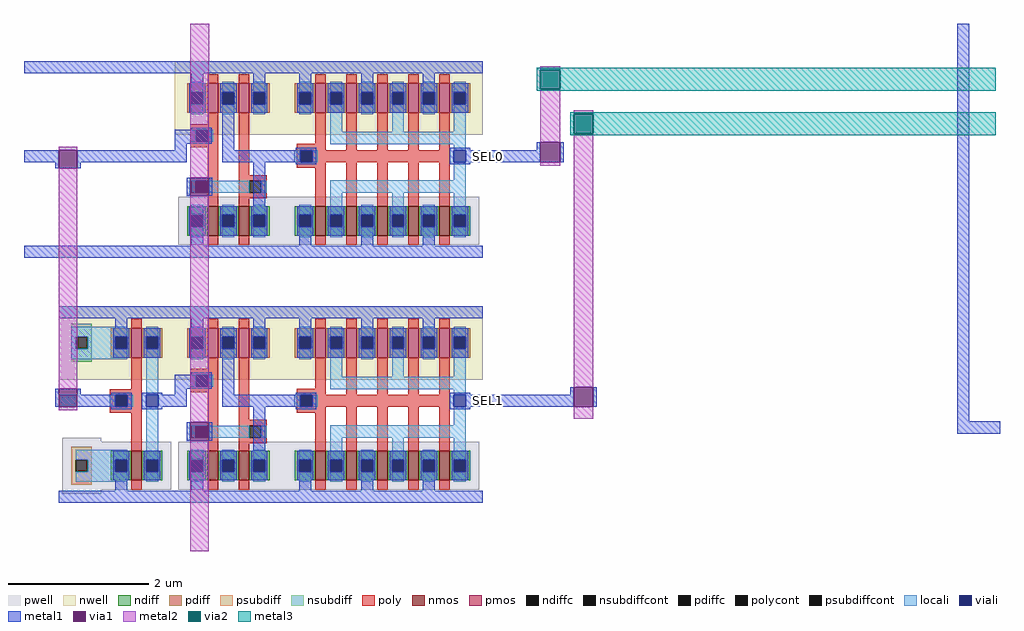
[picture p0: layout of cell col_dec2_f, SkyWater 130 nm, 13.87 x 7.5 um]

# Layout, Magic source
magic
tech sky130A
magscale 1 2
<< metal1 >>
rect -473 1024 -11 1058
rect 985 806 995 828
rect -473 772 -374 806
rect -384 754 -374 772
rect -322 772 -11 806
rect 831 772 995 806
rect 1051 772 1061 828
rect -322 754 -312 772
rect -473 500 -11 534
rect -384 76 -374 128
rect -322 76 -312 128
rect 1079 110 1089 132
rect 831 76 1089 110
rect 1145 76 1155 132
rect 2179 35 2213 1165
rect 2179 0 2301 35
<< via1 >>
rect -374 754 -322 806
rect 995 772 1051 828
rect -374 76 -322 128
rect 1089 76 1145 132
<< metal2 >>
rect 0 1057 53 1165
rect 995 1035 1051 1045
rect 995 828 1051 979
rect -374 806 -322 816
rect 995 762 1051 772
rect 1089 909 1145 919
rect -374 128 -322 754
rect -374 66 -322 76
rect 1089 132 1145 853
rect 1089 42 1145 76
<< via2 >>
rect 995 979 1051 1035
rect 1089 853 1145 909
<< metal3 >>
rect 985 1035 2289 1040
rect 985 979 995 1035
rect 1051 979 2289 1035
rect 985 974 2289 979
rect 1079 909 2289 914
rect 1079 853 1089 909
rect 1145 853 2289 909
rect 1079 848 2289 853
use not_f  not_f_0 ~/Desktop/FabRAM/FE/sram130/not
transform 1 0 -374 0 1 -334
box 0 138 330 696
use row_driver_f  row_driver_f_0 ~/Desktop/FabRAM/FE/sram130/row_driver
transform 1 0 -45 0 1 362
box 0 0 876 696
use row_driver_f  row_driver_f_1
transform 1 0 -45 0 1 -334
box 0 0 876 696
<< labels >>
rlabel metal1 831 772 865 806 0 SEL0
rlabel metal1 831 76 865 110 0 SEL1
<< end >>

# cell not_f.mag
magic
tech sky130A
magscale 1 2
<< nwell >>
rect 0 488 330 696
<< pwell >>
rect 10 311 120 323
rect 10 175 320 311
rect 10 163 120 175
<< nmos >>
rect 206 201 236 285
<< pmos >>
rect 206 550 236 634
<< ndiff >>
rect 148 260 206 285
rect 148 226 160 260
rect 194 226 206 260
rect 148 201 206 226
rect 236 260 294 285
rect 236 226 248 260
rect 282 226 294 260
rect 236 201 294 226
<< pdiff >>
rect 148 609 206 634
rect 148 575 160 609
rect 194 575 206 609
rect 148 550 206 575
rect 236 609 294 634
rect 236 575 248 609
rect 282 575 294 609
rect 236 550 294 575
<< ndiffc >>
rect 160 226 194 260
rect 248 226 282 260
<< pdiffc >>
rect 160 575 194 609
rect 248 575 282 609
<< psubdiff >>
rect 36 260 94 297
rect 36 226 48 260
rect 82 226 94 260
rect 36 189 94 226
<< nsubdiff >>
rect 36 609 94 646
rect 36 575 48 609
rect 82 575 94 609
rect 36 538 94 575
<< psubdiffcont >>
rect 48 226 82 260
<< nsubdiffcont >>
rect 48 575 82 609
<< poly >>
rect 206 634 236 660
rect 206 460 236 550
rect 145 444 236 460
rect 145 410 161 444
rect 195 410 236 444
rect 145 394 236 410
rect 206 285 236 394
rect 206 175 236 201
<< polycont >>
rect 161 410 195 444
<< locali >>
rect 36 609 194 638
rect 36 575 48 609
rect 82 575 160 609
rect 36 546 194 575
rect 248 609 282 638
rect 248 444 282 575
rect 145 410 161 444
rect 195 410 211 444
rect 48 260 194 289
rect 82 226 160 260
rect 48 197 194 226
rect 248 260 282 410
rect 248 197 282 226
<< viali >>
rect 160 575 194 609
rect 248 575 282 609
rect 161 410 195 444
rect 248 410 282 444
rect 160 226 194 260
rect 248 226 282 260
<< metal1 >>
rect 0 662 330 696
rect 160 634 194 662
rect 154 609 200 634
rect 154 575 160 609
rect 194 575 200 609
rect 154 550 200 575
rect 242 609 288 634
rect 242 575 248 609
rect 282 575 288 609
rect 242 550 288 575
rect 149 444 207 450
rect 0 410 161 444
rect 195 410 207 444
rect 149 404 207 410
rect 236 444 294 450
rect 236 410 248 444
rect 282 410 330 444
rect 236 404 294 410
rect 154 260 200 285
rect 154 226 160 260
rect 194 226 200 260
rect 154 201 200 226
rect 242 260 288 285
rect 242 226 248 260
rect 282 226 288 260
rect 242 201 288 226
rect 160 172 194 201
rect 0 138 330 172
<< labels >>
flabel metal1 s 296 410 330 444 0 FreeSans 44 0 0 0 B
port 1 nsew
flabel metal1 s 0 662 34 696 0 FreeSans 44 0 0 0 VDD
port 2 nsew
flabel metal1 s 0 410 34 444 0 FreeSans 44 0 0 0 A
port 3 nsew
flabel metal1 s 0 138 34 172 0 FreeSans 44 0 0 0 VSS
port 4 nsew
<< end >>

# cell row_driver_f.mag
magic
tech sky130A
magscale 1 2
<< nwell >>
rect 0 488 876 696
<< pwell >>
rect 10 175 866 311
<< nmos >>
rect 94 201 124 285
rect 182 201 212 285
rect 400 201 430 285
rect 488 201 518 285
rect 576 201 606 285
rect 664 201 694 285
rect 752 201 782 285
<< pmos >>
rect 94 550 124 634
rect 182 550 212 634
rect 400 550 430 634
rect 488 550 518 634
rect 576 550 606 634
rect 664 550 694 634
rect 752 550 782 634
<< ndiff >>
rect 36 260 94 285
rect 36 226 48 260
rect 82 226 94 260
rect 36 201 94 226
rect 124 260 182 285
rect 124 226 136 260
rect 170 226 182 260
rect 124 201 182 226
rect 212 260 270 285
rect 212 226 224 260
rect 258 226 270 260
rect 212 201 270 226
rect 342 260 400 285
rect 342 226 354 260
rect 388 226 400 260
rect 342 201 400 226
rect 430 260 488 285
rect 430 226 442 260
rect 476 226 488 260
rect 430 201 488 226
rect 518 260 576 285
rect 518 226 530 260
rect 564 226 576 260
rect 518 201 576 226
rect 606 260 664 285
rect 606 226 618 260
rect 652 226 664 260
rect 606 201 664 226
rect 694 260 752 285
rect 694 226 706 260
rect 740 226 752 260
rect 694 201 752 226
rect 782 260 840 285
rect 782 226 794 260
rect 828 226 840 260
rect 782 201 840 226
<< pdiff >>
rect 36 609 94 634
rect 36 575 48 609
rect 82 575 94 609
rect 36 550 94 575
rect 124 609 182 634
rect 124 575 136 609
rect 170 575 182 609
rect 124 550 182 575
rect 212 609 270 634
rect 212 575 224 609
rect 258 575 270 609
rect 212 550 270 575
rect 342 609 400 634
rect 342 575 354 609
rect 388 575 400 609
rect 342 550 400 575
rect 430 609 488 634
rect 430 575 442 609
rect 476 575 488 609
rect 430 550 488 575
rect 518 609 576 634
rect 518 575 530 609
rect 564 575 576 609
rect 518 550 576 575
rect 606 609 664 634
rect 606 575 618 609
rect 652 575 664 609
rect 606 550 664 575
rect 694 609 752 634
rect 694 575 706 609
rect 740 575 752 609
rect 694 550 752 575
rect 782 609 840 634
rect 782 575 794 609
rect 828 575 840 609
rect 782 550 840 575
<< ndiffc >>
rect 48 226 82 260
rect 136 226 170 260
rect 224 226 258 260
rect 354 226 388 260
rect 442 226 476 260
rect 530 226 564 260
rect 618 226 652 260
rect 706 226 740 260
rect 794 226 828 260
<< pdiffc >>
rect 48 575 82 609
rect 136 575 170 609
rect 224 575 258 609
rect 354 575 388 609
rect 442 575 476 609
rect 530 575 564 609
rect 618 575 652 609
rect 706 575 740 609
rect 794 575 828 609
<< poly >>
rect 94 634 124 660
rect 182 634 212 660
rect 400 634 430 660
rect 488 634 518 660
rect 576 634 606 660
rect 664 634 694 660
rect 752 634 782 660
rect 94 518 124 550
rect 44 502 124 518
rect 44 468 60 502
rect 94 468 124 502
rect 44 452 124 468
rect 94 285 124 452
rect 182 373 212 550
rect 400 462 430 550
rect 347 444 430 462
rect 488 444 518 550
rect 576 444 606 550
rect 664 444 694 550
rect 752 444 782 550
rect 347 410 357 444
rect 391 410 782 444
rect 347 394 430 410
rect 182 357 262 373
rect 182 323 212 357
rect 246 323 262 357
rect 182 307 262 323
rect 182 285 212 307
rect 400 285 430 394
rect 488 285 518 410
rect 576 285 606 410
rect 664 285 694 410
rect 752 285 782 410
rect 94 175 124 201
rect 182 175 212 201
rect 400 175 430 201
rect 488 175 518 201
rect 576 175 606 201
rect 664 175 694 201
rect 752 175 782 201
<< polycont >>
rect 60 468 94 502
rect 357 410 391 444
rect 212 323 246 357
<< locali >>
rect 48 609 82 638
rect 48 546 82 575
rect 136 609 170 638
rect 136 546 170 575
rect 224 609 258 638
rect 224 546 258 575
rect 354 609 388 638
rect 354 546 388 575
rect 442 609 476 638
rect 44 468 60 502
rect 94 468 110 502
rect 442 496 476 575
rect 530 609 564 638
rect 530 546 564 575
rect 618 609 652 638
rect 618 496 652 575
rect 706 609 740 638
rect 706 546 740 575
rect 794 609 828 638
rect 794 496 828 575
rect 442 461 828 496
rect 794 444 828 461
rect 340 410 357 444
rect 391 410 407 444
rect 794 358 828 410
rect 48 323 60 357
rect 94 323 212 357
rect 246 323 262 357
rect 442 323 828 358
rect 48 260 82 289
rect 48 197 82 226
rect 136 260 170 289
rect 136 197 170 226
rect 224 260 258 289
rect 224 197 258 226
rect 354 260 388 289
rect 354 197 388 226
rect 442 260 476 323
rect 442 197 476 226
rect 530 260 564 289
rect 530 197 564 226
rect 618 260 652 323
rect 618 197 652 226
rect 706 260 740 289
rect 706 197 740 226
rect 794 260 828 323
rect 794 197 828 226
<< viali >>
rect 48 575 82 609
rect 136 575 170 609
rect 224 575 258 609
rect 354 575 388 609
rect 442 575 476 609
rect 60 468 94 502
rect 530 575 564 609
rect 618 575 652 609
rect 706 575 740 609
rect 794 575 828 609
rect 357 410 391 444
rect 794 410 828 444
rect 60 323 94 357
rect 48 226 82 260
rect 136 226 170 260
rect 224 226 258 260
rect 354 226 388 260
rect 442 226 476 260
rect 530 226 564 260
rect 618 226 652 260
rect 706 226 740 260
rect 794 226 828 260
<< metal1 >>
rect 0 662 876 696
rect 48 634 82 662
rect 224 634 258 662
rect 354 634 388 662
rect 530 634 564 662
rect 706 634 740 662
rect 42 609 88 634
rect 42 575 48 609
rect 82 575 88 609
rect 42 550 88 575
rect 130 609 176 634
rect 130 575 136 609
rect 170 575 176 609
rect 130 550 176 575
rect 218 609 264 634
rect 218 575 224 609
rect 258 575 264 609
rect 218 550 264 575
rect 348 609 394 634
rect 348 575 354 609
rect 388 575 394 609
rect 348 550 394 575
rect 436 609 482 634
rect 436 575 442 609
rect 476 575 482 609
rect 436 550 482 575
rect 524 609 570 634
rect 524 575 530 609
rect 564 575 570 609
rect 524 550 570 575
rect 612 609 658 634
rect 612 575 618 609
rect 652 575 658 609
rect 612 550 658 575
rect 700 609 746 634
rect 700 575 706 609
rect 740 575 746 609
rect 700 550 746 575
rect 788 609 834 634
rect 788 575 794 609
rect 828 575 834 609
rect 788 550 834 575
rect 48 502 106 508
rect 0 468 60 502
rect 94 468 106 502
rect 0 462 106 468
rect 0 410 34 462
rect 136 444 170 550
rect 345 444 403 450
rect 136 410 357 444
rect 391 410 403 444
rect 35 314 45 366
rect 97 314 107 366
rect 224 285 258 410
rect 345 404 403 410
rect 782 444 840 450
rect 782 410 794 444
rect 828 410 876 444
rect 782 404 840 410
rect 42 260 88 285
rect 42 226 48 260
rect 82 226 88 260
rect 42 201 88 226
rect 130 260 176 285
rect 130 226 136 260
rect 170 226 176 260
rect 130 201 176 226
rect 218 260 264 285
rect 218 226 224 260
rect 258 226 264 260
rect 218 201 264 226
rect 348 260 394 285
rect 348 226 354 260
rect 388 226 394 260
rect 348 201 394 226
rect 436 260 482 285
rect 436 226 442 260
rect 476 226 482 260
rect 436 201 482 226
rect 524 260 570 285
rect 524 226 530 260
rect 564 226 570 260
rect 524 201 570 226
rect 612 260 658 285
rect 612 226 618 260
rect 652 226 658 260
rect 612 201 658 226
rect 700 260 746 285
rect 700 226 706 260
rect 740 226 746 260
rect 700 201 746 226
rect 788 260 834 285
rect 788 226 794 260
rect 828 226 834 260
rect 788 201 834 226
rect 48 172 82 201
rect 354 172 388 201
rect 530 172 564 201
rect 706 172 740 201
rect 0 138 876 172
<< via1 >>
rect 45 357 97 366
rect 45 323 60 357
rect 60 323 94 357
rect 94 323 97 357
rect 45 314 97 323
<< metal2 >>
rect 45 366 97 696
rect 45 0 97 314
<< labels >>
flabel metal1 s 0 662 34 696 0 FreeSans 44 0 0 0 VDD
port 1 nsew
flabel metal1 s 0 410 34 444 0 FreeSans 44 0 0 0 A
port 2 nsew
flabel metal1 s 0 138 34 172 0 FreeSans 44 0 0 0 VSS
port 3 nsew
flabel metal2 s 45 0 97 52 0 FreeSans 44 0 0 0 WLEN
port 4 nsew
flabel metal1 s 842 410 876 444 0 FreeSans 44 0 0 0 B
port 5 nsew
<< end >>
